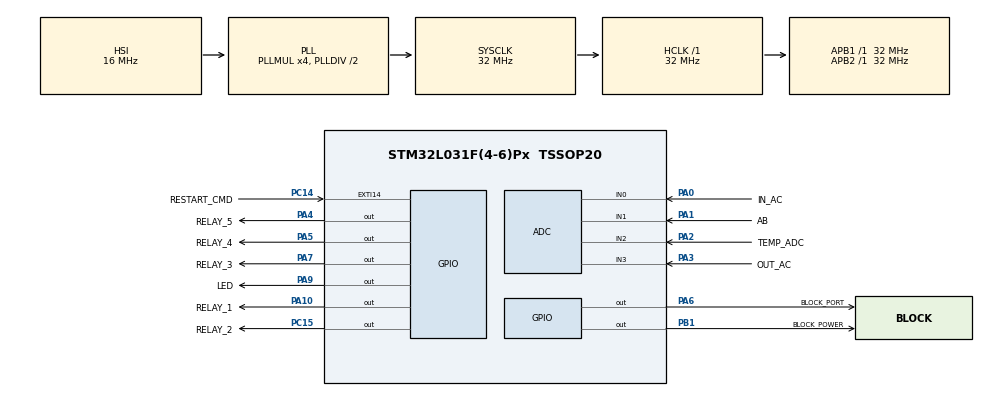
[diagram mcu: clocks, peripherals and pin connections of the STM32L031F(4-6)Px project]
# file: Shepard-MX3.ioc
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ADC.ContinuousConvMode=ENABLE
ADC.DMAContinuousRequests=ENABLE
ADC.EOCSelection=ADC_EOC_SEQ_CONV
ADC.OversamplingMode=ENABLE
ADC.Ratio=ADC_OVERSAMPLING_RATIO_16
ADC.SamplingTime=ADC_SAMPLETIME_160CYCLES_5
Dma.ADC.0.Direction=DMA_PERIPH_TO_MEMORY
Dma.ADC.0.Instance=DMA1_Channel1
Dma.ADC.0.MemDataAlignment=DMA_MDATAALIGN_HALFWORD
Dma.ADC.0.MemInc=DMA_MINC_ENABLE
Dma.ADC.0.Mode=DMA_CIRCULAR
Dma.ADC.0.PeriphDataAlignment=DMA_PDATAALIGN_HALFWORD
Dma.ADC.0.PeriphInc=DMA_PINC_DISABLE
Dma.ADC.0.Priority=DMA_PRIORITY_HIGH
Dma.Request0=ADC
FREERTOS.Tasks01=InvTask,0,128,StartInvTask,Default,NULL,Dynamic,NULL,NULL;IN_ACTask,0,128,StartIN_ACTask,Default,NULL,Dynamic,NULL,NULL;OUT_ACTask,0,128,StartOUT_ACTask,Default,NULL,Dynamic,NULL,NULL;TempTask,0,128,StartTempTask,Default,NULL,Dynamic,NULL,NULL;RelayTask,0,128,StartRelayTask,Default,NULL,Dynamic,NULL,NULL;RestartCMDTask,0,128,StartRestartCMDTask,Default,NULL,Dynamic,NULL,NULL;LEDTask,0,128,StartLEDTask,Default,NULL,Dynamic,NULL,NULL;ABTask,-3,128,StartABTask,Default,NULL,Dynamic,NULL,NULL
FREERTOS.configTOTAL_HEAP_SIZE=5200
IWDG.Prescaler=IWDG_PRESCALER_64
Mcu.Family=STM32L0
Mcu.Name=STM32L031F(4-6)Px
Mcu.Package=TSSOP20
NVIC.DMA1_Channel1_IRQn=true\:3\:0\:false\:false\:true\:true\:false\:true
NVIC.EXTI4_15_IRQn=true\:3\:0\:false\:false\:true\:true\:true\:true
NVIC.PVD_IRQn=true\:3\:0\:false\:false\:true\:true\:true\:true
PA0-CK_IN.GPIO_Label=IN_AC
PA0-CK_IN.Mode=IN0
PA0-CK_IN.Signal=ADC_IN0
PA1.GPIO_Label=AB
PA1.Mode=IN1
PA1.Signal=ADC_IN1
PA10.GPIO_Label=RELAY_1
PA10.GPIO_Speed=GPIO_SPEED_FREQ_VERY_HIGH
PA10.PinState=GPIO_PIN_SET
PA10.Signal=GPIO_Output
PA13.GPIO_Label=DIO
PA13.Mode=Serial_Wire
PA13.Signal=SYS_SWDIO
PA14.GPIO_Label=CLK
PA14.Mode=Serial_Wire
PA14.Signal=SYS_SWCLK
PA2.GPIO_Label=TEMP_ADC
PA2.Mode=IN2
PA2.Signal=ADC_IN2
PA3.GPIO_Label=OUT_AC
PA3.Mode=IN3
PA3.Signal=ADC_IN3
PA4.GPIO_Label=RELAY_5
PA4.GPIO_Speed=GPIO_SPEED_FREQ_VERY_HIGH
PA4.PinState=GPIO_PIN_SET
PA4.Signal=GPIO_Output
PA5.GPIO_Label=RELAY_4
PA5.GPIO_Speed=GPIO_SPEED_FREQ_VERY_HIGH
PA5.PinState=GPIO_PIN_SET
PA5.Signal=GPIO_Output
PA6.GPIO_Label=BLOCK_PORT
PA6.GPIO_Speed=GPIO_SPEED_FREQ_VERY_HIGH
PA6.PinState=GPIO_PIN_SET
PA6.Signal=GPIO_Output
PA7.GPIO_Label=RELAY_3
PA7.GPIO_Speed=GPIO_SPEED_FREQ_VERY_HIGH
PA7.PinState=GPIO_PIN_SET
PA7.Signal=GPIO_Output
PA9.GPIO_Label=LED
PA9.GPIO_Speed=GPIO_SPEED_FREQ_VERY_HIGH
PA9.Signal=GPIO_Output
PB1.GPIO_Label=BLOCK_POWER
PB1.GPIO_Speed=GPIO_SPEED_FREQ_VERY_HIGH
PB1.Signal=GPIO_Output
PC14-OSC32_IN.GPIO_Label=RESTART_CMD
PC14-OSC32_IN.GPIO_ModeDefaultEXTI=GPIO_MODE_IT_RISING_FALLING
PC14-OSC32_IN.Signal=GPXTI14
PC15-OSC32_OUT.GPIO_Label=RELAY_2
PC15-OSC32_OUT.GPIO_Speed=GPIO_SPEED_FREQ_VERY_HIGH
PC15-OSC32_OUT.PinState=GPIO_PIN_SET
PC15-OSC32_OUT.Signal=GPIO_Output
ProjectManager.HeapSize=0x200
ProjectManager.StackSize=0x400
ProjectManager.TargetToolchain=STM32CubeIDE
RCC.AHBFreq_Value=32000000
RCC.APB1Freq_Value=32000000
RCC.APB1TimFreq_Value=32000000
RCC.APB2Freq_Value=32000000
RCC.APB2TimFreq_Value=32000000
RCC.HCLKFreq_Value=32000000
RCC.HSE_VALUE=8000000
RCC.HSI16_VALUE=16000000
RCC.HSI_VALUE=16000000
RCC.LSE_VALUE=32768
RCC.MSI_VALUE=2097000
RCC.PLLMUL=RCC_PLLMUL_4
RCC.SYSCLKFreq_VALUE=32000000
RCC.SYSCLKSource=RCC_SYSCLKSOURCE_PLLCLK
RCC.VCOOutputFreq_Value=64000000
VP_FREERTOS_VS_CMSIS_V1.Mode=CMSIS_V1
VP_IWDG_VS_IWDG.Mode=IWDG_Activate
VP_SYS_V_PVD_IN.Mode=Mode_PVD_Int
board=custom

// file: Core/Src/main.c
/* USER CODE BEGIN Header */
/**
  ******************************************************************************
  * @file           : main.c
  * @brief          : Main program body
  ******************************************************************************
  * @attention
  *
  * <h2><center>&copy; Copyright (c) 2019 STMicroelectronics.
  * All rights reserved.</center></h2>
  *
  * This software component is licensed by ST under BSD 3-Clause license,
  * the "License"; You may not use this file except in compliance with the
  * License. You may obtain a copy of the License at:
  *                        opensource.org/licenses/BSD-3-Clause
  *
  ******************************************************************************
  */
/* USER CODE END Header */

#include "main.h"
#include "cmsis_os.h"
#include "adc.h"
#include "dma.h"
#include "iwdg.h"
#include "gpio.h"

/* USER CODE BEGIN PV */
volatile log_state NeedUpdate_INV_STATE=YES;
volatile INV_STATE MX3_INV_State=OFF;

volatile log_state NeedUpdate_RELAY_STATE=YES;
volatile log_state RELAY_OVER_TEMP=YES;
volatile log_state RELAY_LOW_AB=YES;
volatile log_state RELAY_VERYLOW_AB=YES;
volatile log_state RELAY_NO_ACIN=YES;
volatile log_state RELAY_NO_ACOUT=YES;

volatile uint16_t   aADCxConvertedData[ADC_CONVERTED_DATA_BUFFER_SIZE];

volatile uint16_t Global_IN_AC=0;
volatile uint32_t Global_IN_AVG=0;
volatile uint32_t Global_IN_SUM=0;
volatile uint16_t Global_IN_CNT=0;

volatile uint16_t Global_AB=0;
volatile uint32_t Global_AB_AVG=0;
volatile uint32_t Global_AB_SUM=0;
volatile uint16_t Global_AB_CNT=0;

volatile uint16_t Global_TEMP=0;
volatile uint32_t Global_TEMP_AVG=0;
volatile uint32_t Global_TEMP_SUM=0;
volatile uint16_t Global_TEMP_CNT=0;

volatile uint16_t Global_OUT_AC=0;
volatile uint32_t Global_OUT_AVG=0;
volatile uint32_t Global_OUT_SUM=0;
volatile uint16_t Global_OUT_CNT=0;

volatile log_state Blocked_by_PVD=YES;
volatile log_state Blocked_by_TEMP=YES;
volatile log_state Blocked_by_AB=YES;

volatile log_state RESTART_CMD_FLAG=NO;

uint32_t adc_conv_stamp=0;
//uint32_t adc_half_stamp=0;

/* USER CODE END PV */

void SystemClock_Config(void);
void MX_FREERTOS_Init(void);

void Enable_SH_DEBUG(void);

/* USER CODE BEGIN 0 */
void HAL_GPIO_EXTI_Callback(uint16_t GPIO_Pin)
{
	if (HAL_GPIO_ReadPin(RESTART_CMD_GPIO_Port,RESTART_CMD_Pin)==GPIO_PIN_RESET) {
		RESTART_CMD_FLAG=YES;
	} else {
		RESTART_CMD_FLAG=NO;
	}
}

void HAL_PWR_PVDCallback(void)
{
	if __HAL_PWR_GET_FLAG(PWR_FLAG_PVDO) {
		Blocked_by_PVD=YES;
	} else {
		Blocked_by_PVD=NO;
	}
}

void HAL_ADC_ConvCpltCallback(ADC_HandleTypeDef* hadc1)
{
	adc_conv_stamp=xTaskGetTickCount()-adc_conv_stamp;

	Global_TEMP=aADCxConvertedData[2]/ADC_OVERSAMPLING;
	Global_TEMP_CNT++;
	Global_TEMP_SUM=Global_TEMP_SUM+Global_TEMP;

	Global_OUT_AC=aADCxConvertedData[3]/ADC_OVERSAMPLING;
	Global_OUT_CNT++;
	Global_OUT_SUM=Global_OUT_SUM+Global_OUT_AC;

	Global_IN_AC=aADCxConvertedData[0]/ADC_OVERSAMPLING;
	Global_IN_CNT++;
	Global_IN_SUM=Global_IN_SUM+Global_IN_AC;

	Global_AB=aADCxConvertedData[1]/ADC_OVERSAMPLING;
	Global_AB_CNT++;
	Global_AB_SUM=Global_AB_SUM+Global_AB;

	if (xTaskGetTickCount()-adc_conv_stamp>=DELAY_ADC_SUM) {
			Global_TEMP_AVG=(uint32_t) (Global_TEMP_SUM/Global_TEMP_CNT);
			Global_TEMP_CNT=0;
			Global_TEMP_SUM=0;

			Global_OUT_AVG=(uint32_t) (Global_OUT_SUM/Global_OUT_CNT);
			Global_OUT_CNT=0;
			Global_OUT_SUM=0;

			Global_AB_AVG=(uint32_t) (Global_AB_SUM/Global_AB_CNT);
			Global_AB_CNT=0;
			Global_AB_SUM=0;

			Global_IN_AVG=(uint32_t) (Global_IN_SUM/Global_IN_CNT);
			Global_IN_CNT=0;
			Global_IN_SUM=0;

			adc_conv_stamp=xTaskGetTickCount();

			if (Global_AB_AVG<=BUZZER_OPORA) {
				HAL_GPIO_WritePin(LED_GPIO_Port, LED_Pin, GPIO_PIN_SET);
			} else {
				HAL_GPIO_WritePin(LED_GPIO_Port, LED_Pin, GPIO_PIN_RESET);
			}
		}
}

/*void HAL_ADC_ConvHalfCpltCallback(ADC_HandleTypeDef* hadc1)
{
	Global_IN_AC=aADCxConvertedData[0]/ADC_OVERSAMPLING;
	Global_IN_CNT++;
	Global_IN_SUM=Global_IN_SUM+Global_IN_AC;

	Global_AB=aADCxConvertedData[1]/ADC_OVERSAMPLING;
	Global_AB_CNT++;
	Global_AB_SUM=Global_AB_SUM+Global_AB;

	if (xTaskGetTickCount()-adc_half_stamp>=DELAY_ADC_SUM) {
		Global_AB_AVG=(uint32_t) (Global_AB_SUM/Global_AB_CNT);
		Global_AB_CNT=0;
		Global_AB_SUM=0;

		Global_IN_AVG=(uint32_t) (Global_IN_SUM/Global_IN_CNT);
		Global_IN_CNT=0;
		Global_IN_SUM=0;

		adc_half_stamp=xTaskGetTickCount();

		//check LED
					    if (Global_AB_AVG<=BUZZER_OPORA) {
							HAL_GPIO_WritePin(LED_GPIO_Port, LED_Pin, GPIO_PIN_SET);
						} else {
							HAL_GPIO_WritePin(LED_GPIO_Port, LED_Pin, GPIO_PIN_RESET);
						}
	}
}*/

void Enable_SH_DEBUG(void) {
	__HAL_RCC_DBGMCU_CLK_ENABLE();
    DBGMCU->APB1FZ |= DBGMCU_APB1_FZ_DBG_WWDG_STOP;
    DBGMCU->APB2FZ = 0xFFFFFFFF;
    DBGMCU->APB1FZ = 0xFFFFFFFF;
    DBGMCU->CR |=DBGMCU_CR_DBG_STOP;
    __HAL_DBGMCU_FREEZE_IWDG();
}
/* USER CODE END 0 */

int main(void)
{
  /* USER CODE BEGIN 1 */

   #ifdef DEBUG_MODE
		Enable_SH_DEBUG();
	#endif

  /* USER CODE END 1 */

  /* MCU Configuration--------------------------------------------------------*/

  /* Reset of all peripherals, Initializes the Flash interface and the Systick. */
  HAL_Init();

  /* Configure the system clock */
  SystemClock_Config();

  /* Initialize all configured peripherals */
  MX_GPIO_Init();
  MX_IWDG_Init();
  MX_DMA_Init();
  MX_ADC_Init();

  /* Call init function for freertos objects (in freertos.c) */
  MX_FREERTOS_Init();

  /* Start scheduler */
  osKernelStart();

  /* We should never get here as control is now taken by the scheduler */

  /* Infinite loop */
  while (1)
  {

  }
}

void SystemClock_Config(void)
{
  RCC_OscInitTypeDef RCC_OscInitStruct = {0};
  RCC_ClkInitTypeDef RCC_ClkInitStruct = {0};

  /** Configure the main internal regulator output voltage
  */
  __HAL_PWR_VOLTAGESCALING_CONFIG(PWR_REGULATOR_VOLTAGE_SCALE1);
  /** Initializes the CPU, AHB and APB busses clocks
  */
  RCC_OscInitStruct.OscillatorType = RCC_OSCILLATORTYPE_HSI|RCC_OSCILLATORTYPE_LSI;
  RCC_OscInitStruct.HSIState = RCC_HSI_ON;
  RCC_OscInitStruct.HSICalibrationValue = RCC_HSICALIBRATION_DEFAULT;
  RCC_OscInitStruct.LSIState = RCC_LSI_ON;
  RCC_OscInitStruct.PLL.PLLState = RCC_PLL_ON;
  RCC_OscInitStruct.PLL.PLLSource = RCC_PLLSOURCE_HSI;
  RCC_OscInitStruct.PLL.PLLMUL = RCC_PLLMUL_4;
  RCC_OscInitStruct.PLL.PLLDIV = RCC_PLLDIV_2;
  if (HAL_RCC_OscConfig(&RCC_OscInitStruct) != HAL_OK)
  {
    Error_Handler();
  }
  /** Initializes the CPU, AHB and APB busses clocks
  */
  RCC_ClkInitStruct.ClockType = RCC_CLOCKTYPE_HCLK|RCC_CLOCKTYPE_SYSCLK
                              |RCC_CLOCKTYPE_PCLK1|RCC_CLOCKTYPE_PCLK2;
  RCC_ClkInitStruct.SYSCLKSource = RCC_SYSCLKSOURCE_PLLCLK;
  RCC_ClkInitStruct.AHBCLKDivider = RCC_SYSCLK_DIV1;
  RCC_ClkInitStruct.APB1CLKDivider = RCC_HCLK_DIV1;
  RCC_ClkInitStruct.APB2CLKDivider = RCC_HCLK_DIV1;

  if (HAL_RCC_ClockConfig(&RCC_ClkInitStruct, FLASH_LATENCY_1) != HAL_OK)
  {
    Error_Handler();
  }
}

void Error_Handler(void)
{
}

/************************ (C) COPYRIGHT STMicroelectronics *****END OF FILE****/

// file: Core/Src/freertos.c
/* USER CODE BEGIN Header */
/**
  ******************************************************************************
  * File Name          : freertos.c
  * Description        : Code for freertos applications
  ******************************************************************************
  * @attention
  *
  * <h2><center>&copy; Copyright (c) 2019 STMicroelectronics.
  * All rights reserved.</center></h2>
  *
  * This software component is licensed by ST under Ultimate Liberty license
  * SLA0044, the "License"; You may not use this file except in compliance with
  * the License. You may obtain a copy of the License at:
  *                             www.st.com/SLA0044
  *
  ******************************************************************************
  */
/* USER CODE END Header */

#include "FreeRTOS.h"
#include "task.h"
#include "main.h"
#include "cmsis_os.h"

/* USER CODE BEGIN Includes */
#include "iwdg.h"
#include "adc.h"
#include "math.h"
/* USER CODE END Includes */

osThreadId InvTaskHandle;
osThreadId IN_ACTaskHandle;
osThreadId OUT_ACTaskHandle;
osThreadId TempTaskHandle;
osThreadId RelayTaskHandle;
osThreadId RestartCMDTaskHandle;
//osThreadId LEDTaskHandle;
osThreadId ABTaskHandle;

uint16_t IN_OK=0;
uint16_t IN_BAD=0;

uint16_t OUT_OK=0;
uint16_t OUT_BAD=0;

uint16_t Start_Attept_CNT=0;

INV_STATE New_INV_STATE=OFF;

#define TOTAL_CMP 10000
#define TOTAL_LEVEL 100

// resistance at 25 degrees C
#define THERMISTORNOMINAL 1000
// temp. for nominal resistance (almost always 25 C)
#define TEMPERATURENOMINAL 25
// The beta coefficient of the thermistor (usually 3000-4000)
#define BCOEFFICIENT 3950
// the value of the 'other' resistor
#define SERIESRESISTOR 4700

double average=0;
double steinhart=0;

uint32_t temp_stamp=0;
uint32_t ab_stamp=0;

/* USER CODE BEGIN FunctionPrototypes */
void Inv_OFF(void);
void Inv_ON(void);
uint8_t CheckStamp(uint32_t time_stamp, uint8_t time_base);

uint8_t CheckStamp(uint32_t time_stamp, uint8_t time_base) {
	if (xTaskGetTickCount()-time_stamp>time_base*1000) {
		return 1;
	} else {
		return 0;
	}
}

void Inv_OFF(void) {
    HAL_GPIO_WritePin(GPIOA, BLOCK_PORT_Pin, GPIO_PIN_RESET); // set 8V block
	HAL_GPIO_WritePin(BLOCK_POWER_GPIO_Port, BLOCK_POWER_Pin, GPIO_PIN_RESET); //off 15v
}

void Inv_ON(void) {
	#ifndef NOT_USE_8V_BLOCK
		HAL_GPIO_WritePin(GPIOA, BLOCK_PORT_Pin, GPIO_PIN_SET); // reset 8v Block
	#endif
	HAL_GPIO_WritePin(BLOCK_POWER_GPIO_Port, BLOCK_POWER_Pin, GPIO_PIN_SET); //on 15v
}
/* USER CODE END FunctionPrototypes */

void StartInvTask(void const * argument);
void StartIN_ACTask(void const * argument);
void StartOUT_ACTask(void const * argument);
void StartTempTask(void const * argument);
void StartRelayTask(void const * argument);
void StartRestartCMDTask(void const * argument);
//void StartLEDTask(void const * argument);
void StartABTask(void const * argument);

void MX_FREERTOS_Init(void); /* (MISRA C 2004 rule 8.1) */

/* GetIdleTaskMemory prototype (linked to static allocation support) */
void vApplicationGetIdleTaskMemory( StaticTask_t **ppxIdleTaskTCBBuffer, StackType_t **ppxIdleTaskStackBuffer, uint32_t *pulIdleTaskStackSize );

/* USER CODE BEGIN GET_IDLE_TASK_MEMORY */
static StaticTask_t xIdleTaskTCBBuffer;
static StackType_t xIdleStack[configMINIMAL_STACK_SIZE];

void vApplicationGetIdleTaskMemory( StaticTask_t **ppxIdleTaskTCBBuffer, StackType_t **ppxIdleTaskStackBuffer, uint32_t *pulIdleTaskStackSize )
{
  *ppxIdleTaskTCBBuffer = &xIdleTaskTCBBuffer;
  *ppxIdleTaskStackBuffer = &xIdleStack[0];
  *pulIdleTaskStackSize = configMINIMAL_STACK_SIZE;
  /* place for user code */
}
/* USER CODE END GET_IDLE_TASK_MEMORY */

void MX_FREERTOS_Init(void) {

  /* Create the thread(s) */
  /* definition and creation of InvTask */
  osThreadDef(InvTask, StartInvTask, osPriorityNormal, 0, 128);
  InvTaskHandle = osThreadCreate(osThread(InvTask), NULL);

  /* definition and creation of IN_ACTask */
  osThreadDef(IN_ACTask, StartIN_ACTask, osPriorityNormal, 0, 128);
  IN_ACTaskHandle = osThreadCreate(osThread(IN_ACTask), NULL);

  /* definition and creation of OUT_ACTask */
  osThreadDef(OUT_ACTask, StartOUT_ACTask, osPriorityNormal, 0, 128);
  OUT_ACTaskHandle = osThreadCreate(osThread(OUT_ACTask), NULL);

  /* definition and creation of TempTask */
  osThreadDef(TempTask, StartTempTask, osPriorityNormal, 0, 128);
  TempTaskHandle = osThreadCreate(osThread(TempTask), NULL);

  /* definition and creation of RelayTask */
  osThreadDef(RelayTask, StartRelayTask, osPriorityNormal, 0, 128);
  RelayTaskHandle = osThreadCreate(osThread(RelayTask), NULL);

  /* definition and creation of RestartCMDTask */
  osThreadDef(RestartCMDTask, StartRestartCMDTask, osPriorityNormal, 0, 128);
  RestartCMDTaskHandle = osThreadCreate(osThread(RestartCMDTask), NULL);

  /* definition and creation of LEDTask */
  //osThreadDef(LEDTask, StartLEDTask, osPriorityNormal, 0, 128);
  //LEDTaskHandle = osThreadCreate(osThread(LEDTask), NULL);

  /* definition and creation of ABTask */
  osThreadDef(ABTask, StartABTask, osPriorityIdle, 0, 128);
  ABTaskHandle = osThreadCreate(osThread(ABTask), NULL);

}

void StartInvTask(void const * argument)
{
  /* USER CODE BEGIN StartInvTask */
  /* Infinite loop */

  // default state - OFF INV
  Inv_OFF();

  /* ###  - Start conversion in DMA mode ################################# */
  HAL_ADC_Start_DMA(&hadc,(uint32_t *)aADCxConvertedData,ADC_CONVERTED_DATA_BUFFER_SIZE);

  HAL_PWR_PVDCallback();

  HAL_GPIO_EXTI_Callback(RESTART_CMD_Pin);

  //MX3_INV_State=ON;
  MX3_INV_State=OFF;
  NeedUpdate_INV_STATE=YES;

  for(;;)
  {
	if ( (Blocked_by_PVD==NO) && (Blocked_by_AB==NO)  && (Blocked_by_TEMP==NO)) {
		New_INV_STATE=ON;
	} else {
		New_INV_STATE=OFF;
	}

	if (New_INV_STATE!=MX3_INV_State) {
		NeedUpdate_INV_STATE=YES;
	}

	if (NeedUpdate_INV_STATE==YES) {
		NeedUpdate_INV_STATE=NO;
		if (New_INV_STATE==OFF) {
			Inv_OFF();
			MX3_INV_State=OFF;
		} else {
			Inv_ON();
			MX3_INV_State=ON;
		}
	}

	HAL_IWDG_Refresh(&hiwdg);

	osDelay(1);
  }
  /* USER CODE END StartInvTask */
}

void StartIN_ACTask(void const * argument)
{
  /* USER CODE BEGIN StartIN_ACTask */
  /* Infinite loop */
  uint32_t  temp_IN=Global_IN_AVG;

  for(;;)
  {

	temp_IN=Global_IN_AVG;
	if (temp_IN>=4000) {
		IN_BAD++;
	} else {
		IN_OK++;
	}

	if (IN_BAD+IN_OK>=TOTAL_CMP) {

		if (IN_OK>=TOTAL_LEVEL) {
			if (RELAY_NO_ACIN==YES) {
				RELAY_NO_ACIN=NO;
				NeedUpdate_RELAY_STATE=YES;
			}
		} else {
			if (RELAY_NO_ACIN==NO) {
				RELAY_NO_ACIN=YES;
				NeedUpdate_RELAY_STATE=YES;
			}
		}

		IN_BAD=0;
		IN_OK=0;
	}

	osDelay(1);
  }
  /* USER CODE END StartIN_ACTask */
}

void StartOUT_ACTask(void const * argument)
{
  /* USER CODE BEGIN StartOUT_ACTask */
  /* Infinite loop */
	  uint32_t  temp_OUT=Global_OUT_AVG;

	  for(;;)
	  {

		temp_OUT=Global_OUT_AVG;
		if (temp_OUT>=4000) {
			OUT_BAD++;
		} else {
			OUT_OK++;
		}

		if (OUT_BAD+OUT_OK>=TOTAL_CMP) {
			if (OUT_OK>=TOTAL_LEVEL) {
				// YES AC
				Start_Attept_CNT=0;
				if (RELAY_NO_ACOUT==YES) {
					RELAY_NO_ACOUT=NO;
					NeedUpdate_RELAY_STATE=YES;
				}
			} else {
				// NO AC
				if ((Start_Attept_CNT>=5) && (RELAY_NO_ACOUT==NO)) {
					RELAY_NO_ACOUT=YES;
					NeedUpdate_RELAY_STATE=YES;
				} else {
					if ( (Blocked_by_PVD==NO) && (Blocked_by_AB==NO)  && (Blocked_by_TEMP==NO) && (RELAY_NO_ACOUT==NO)) {
									Start_Attept_CNT++;
									//
									Inv_OFF();
									//MX3_INV_State=OFF;
									osDelay(1000);
									Inv_ON();
									//MX3_INV_State=ON;
					}
					osDelay(60000);
				}
			}

			OUT_BAD=0;
			OUT_OK=0;
		}

		osDelay(1);
	  }
  /* USER CODE END StartOUT_ACTask */
}

void Calc_Temp() {
    // convert the value to resistance
    average = Global_TEMP_AVG;
    average = 3300 / average - 1;
    average = SERIESRESISTOR * average;

    steinhart = average / THERMISTORNOMINAL;     // (R/Ro)
    steinhart = log(steinhart);                  // ln(R/Ro)
    steinhart /= BCOEFFICIENT;                   // 1/B * ln(R/Ro)
    steinhart += 1.0 / (TEMPERATURENOMINAL + 273.15); // + (1/To)
    steinhart = 1.0 / steinhart;                 // Invert
    steinhart -= 273.15;                         // convert to C
    steinhart += 10;
}

void StartTempTask(void const * argument)
{
  /* USER CODE BEGIN StartTempTask */
  /* Infinite loop */

	  Blocked_by_TEMP=YES;
	  RELAY_OVER_TEMP=YES;

	  NeedUpdate_RELAY_STATE=YES;

	  osDelay(3000);

	  Calc_Temp();

	  while (steinhart>=TEMP_COLRSTART) {
			  Blocked_by_TEMP=YES;
			  Calc_Temp();
			  osDelay(1000);
	  }

	  Blocked_by_TEMP=NO;
	  RELAY_OVER_TEMP=NO;
	  NeedUpdate_RELAY_STATE=YES;

	  for(;;)
	  {
		    Calc_Temp();

		    if (steinhart<TEMP_MAX) {
			  if ((Blocked_by_TEMP==YES) && (steinhart<=TEMP_ROLLBACK)) {
				  if (temp_stamp==0)  {
					  temp_stamp=xTaskGetTickCount();
				  }
				  if (CheckStamp(temp_stamp,TEMP_DELAY_LENGTH)==1) {
					  Blocked_by_TEMP=NO;
					  if (RELAY_OVER_TEMP==YES) {
						  RELAY_OVER_TEMP=NO;
					  		NeedUpdate_RELAY_STATE=YES;
					  }
					  temp_stamp=0;
				 }
			  } else {
				  //Blocked_by_TEMP=NO;
				  if (RELAY_OVER_TEMP==YES) {
					  RELAY_OVER_TEMP=NO;
				  		NeedUpdate_RELAY_STATE=YES;
				  }
				  temp_stamp=0;
			  }
		    } else {
		  	  Blocked_by_TEMP=YES;
			  if (RELAY_OVER_TEMP==NO) {
				  RELAY_OVER_TEMP=YES;
			  		NeedUpdate_RELAY_STATE=YES;
			  }
		  	  temp_stamp=0;
		  	  osDelay(TEMP_ROLLBACK_DELAY_LENGTH*1000); //sec
		    }
		    osDelay(1000);
	  }

  /* USER CODE END StartTempTask */
}

void StartRelayTask(void const * argument)
{
  /* USER CODE BEGIN StartRelayTask */
  /* Infinite loop */
	//ALL ON
	//HAL_GPIO_WritePin(GPIOA, RELAY_5_Pin|RELAY_4_Pin|RELAY_3_Pin
	//                          |RELAY_1_Pin, GPIO_PIN_RESET);

	//HAL_GPIO_WritePin(RELAY_2_GPIO_Port, RELAY_2_Pin, GPIO_PIN_RESET);

	RELAY_OVER_TEMP=YES;
	RELAY_LOW_AB=YES;
	RELAY_VERYLOW_AB=YES;
	RELAY_NO_ACIN=YES;
	RELAY_NO_ACOUT=YES;

	/*RELAY_OVER_TEMP=NO;
	RELAY_LOW_AB=NO;
	RELAY_VERYLOW_AB=NO;
	RELAY_NO_ACIN=NO;
	RELAY_NO_ACOUT=NO;*/

	NeedUpdate_RELAY_STATE=YES;

	osDelay(3000);

  for(;;)
  {
	if (NeedUpdate_RELAY_STATE==YES) {
		NeedUpdate_RELAY_STATE=NO;
		// TEMP
		if (RELAY_OVER_TEMP==YES) {
			HAL_GPIO_WritePin(GPIOA, RELAY_1_Pin, GPIO_PIN_SET);
		} else {
			HAL_GPIO_WritePin(GPIOA, RELAY_1_Pin, GPIO_PIN_RESET);
		}
		// LOW AB
		if (RELAY_LOW_AB==YES) {
			HAL_GPIO_WritePin(RELAY_2_GPIO_Port, RELAY_2_Pin, GPIO_PIN_SET);
		} else {
			HAL_GPIO_WritePin(RELAY_2_GPIO_Port, RELAY_2_Pin, GPIO_PIN_RESET);
		}
		// RELAY_VERYLOW_AB
		if (RELAY_VERYLOW_AB==YES) {
			HAL_GPIO_WritePin(GPIOA, RELAY_3_Pin, GPIO_PIN_SET);
		} else {
			HAL_GPIO_WritePin(GPIOA, RELAY_3_Pin, GPIO_PIN_RESET);
		}
		//RELAY_NO_ACIN
		if (RELAY_NO_ACIN==YES) {
			HAL_GPIO_WritePin(GPIOA, RELAY_4_Pin, GPIO_PIN_SET);
		} else {
			HAL_GPIO_WritePin(GPIOA, RELAY_4_Pin, GPIO_PIN_RESET);
		}
		// RELAY_NO_ACOUT
		if (RELAY_NO_ACOUT==YES) {
			HAL_GPIO_WritePin(GPIOA, RELAY_5_Pin, GPIO_PIN_SET);
		} else {
			HAL_GPIO_WritePin(GPIOA, RELAY_5_Pin, GPIO_PIN_RESET);
		}
	}
    osDelay(2000);
  }
  /* USER CODE END StartRelayTask */
}

void StartRestartCMDTask(void const * argument)
{
  /* USER CODE BEGIN StartRestartCMDTask */
  /* Infinite loop */
  osDelay(10000);  // 10 sec

  for(;;)
  {
	if (RESTART_CMD_FLAG==YES) {
		Start_Attept_CNT=0;

		RESTART_CMD_FLAG=NO;

		osDelay(100);

		if (HAL_GPIO_ReadPin(RESTART_CMD_GPIO_Port,RESTART_CMD_Pin)==GPIO_PIN_RESET) {

			//if (MX3_INV_State==OFF) {
				//MX3_INV_State=OFF;
				Inv_OFF();

				//10msec
							volatile uint32_t sec_delay=30000;
							//volatile uint16_t sec_delay=250;

							for (uint16_t i=0; i<sec_delay; ++i) {
										// 1 microsec
										for (int j = 0; j < 32; ++j) {
											__asm__ __volatile__("nop\n\t":::"memory");
										}
							}
			//}

			// reset temp
			Calc_Temp();
			if (steinhart<TEMP_COLRSTART) {
				Blocked_by_TEMP=NO;
				temp_stamp=0;

				//reset AB
							if ((Global_AB_AVG>=AB_COLDRUN) && (Global_AB_AVG<=AB_MAX)) {
								Blocked_by_AB=NO;
								ab_stamp=0;

								Inv_ON();

								New_INV_STATE=ON;
							}

			} else {
				Blocked_by_TEMP=YES;
			}

			//New_INV_STATE=ON;

			//osDelay(1000);

			//MX3_INV_State=ON;
			//Inv_ON();

			//osDelay(5000);
		}

	}
    osDelay(3000);
  }
  /* USER CODE END StartRestartCMDTask */
}

/*void StartLEDTask(void const * argument)
{
  uint32_t  temp_ledAB=0;

  for(;;)
  {
	temp_ledAB=Global_AB_AVG;

	if (temp_ledAB<=BUZZER_OPORA) {
		HAL_GPIO_WritePin(LED_GPIO_Port, LED_Pin, GPIO_PIN_SET);
	} else {
		HAL_GPIO_WritePin(LED_GPIO_Port, LED_Pin, GPIO_PIN_RESET);
	}
    //
	HAL_IWDG_Refresh(&hiwdg);
    osDelay(500);
  }
}
*/

void StartABTask(void const * argument)
{
  /* USER CODE BEGIN StartABTask */
  /* Infinite loop */

   Blocked_by_AB=YES;
   RELAY_VERYLOW_AB=YES;

   osDelay(3000);

   uint32_t  temp_AB=Global_AB_AVG;

   NeedUpdate_RELAY_STATE=YES;

  	while (temp_AB<AB_COLDRUN) {
  		  Blocked_by_AB=YES;
  		  temp_AB=Global_AB_AVG;
  		  osDelay(1000);
  	  }

  	Blocked_by_AB=NO;
  	RELAY_VERYLOW_AB=NO;
  	NeedUpdate_RELAY_STATE=YES;

    for(;;)
    {
    	temp_AB=Global_AB_AVG;
		if ( (Blocked_by_AB==NO) && ((temp_AB<=AB_LOW)  || (temp_AB>=AB_MAX) ) ) {
			Blocked_by_AB=YES;
			ab_stamp=0;
			osDelay(3000);
		}
		if ( (Blocked_by_AB==YES) && (temp_AB>=AB_ROLLBACK) &&   (temp_AB<=AB_COLDRUN_FROM_MAX) ) {
			if (ab_stamp==0) {
				ab_stamp=xTaskGetTickCount();
			}
			if (CheckStamp(ab_stamp,AB_MAX_LENGTH)==1)  {
				 Blocked_by_AB=NO;
				 ab_stamp=0;
			}
		} else {
			ab_stamp=0;
		}

		if ((Blocked_by_AB==NO) && (temp_AB<=BUZZER_OPORA)){
			if (RELAY_LOW_AB==NO) {
				NeedUpdate_RELAY_STATE=YES;
				RELAY_LOW_AB=YES;
			}
		} else {
			if ((RELAY_LOW_AB==YES)  && (temp_AB>=BUZZER_OPORA_3p))  {
				osDelay(500);
				if (temp_AB>=BUZZER_OPORA_3p) {
					NeedUpdate_RELAY_STATE=YES;
					RELAY_LOW_AB=NO;
				}
			}
		}

		if (Blocked_by_AB==YES) {
			if (RELAY_VERYLOW_AB==NO) {
				NeedUpdate_RELAY_STATE=YES;
				RELAY_VERYLOW_AB=YES;
			}
		} else {
			if ((RELAY_VERYLOW_AB==YES)  && (temp_AB>=AB_LOW_3p)) {
				NeedUpdate_RELAY_STATE=YES;
				RELAY_VERYLOW_AB=NO;
			}
		}

		osDelay(1);
    }
  /* USER CODE END StartABTask */
}

/************************ (C) COPYRIGHT STMicroelectronics *****END OF FILE****/
